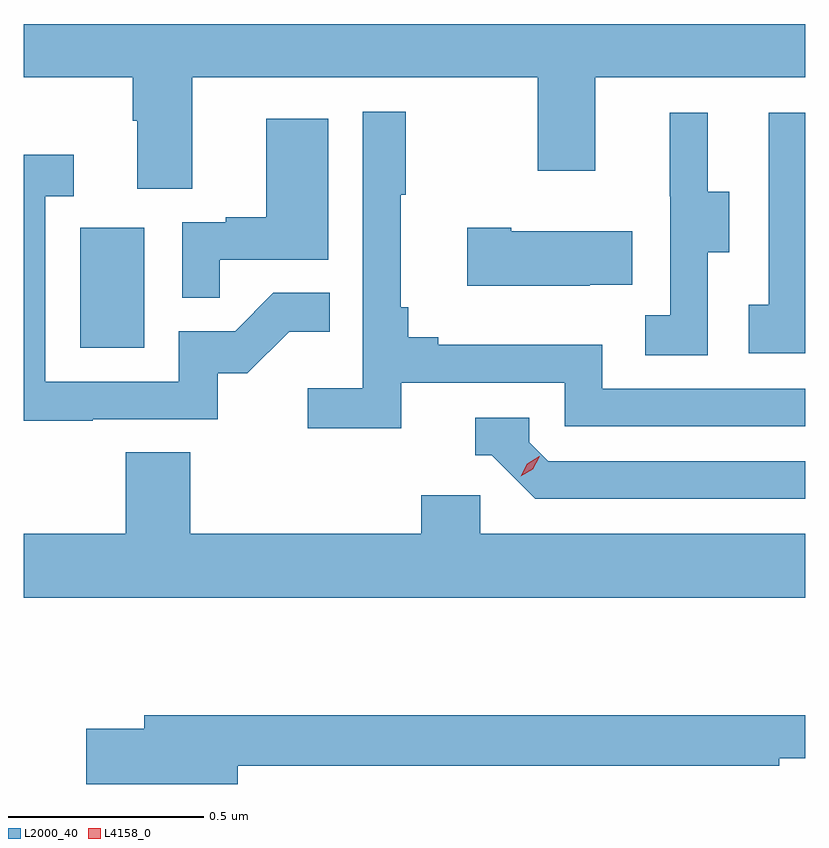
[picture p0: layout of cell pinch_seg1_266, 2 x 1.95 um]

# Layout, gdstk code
import gdstk
lib = gdstk.Library(unit=1e-6, precision=1e-09)
def R(c, l, rs):  # rectangles x0, y0, x1, y1
    for r in rs: c.add(gdstk.rectangle(r[:2], r[2:], *l))
def P(c, l, *ps):  # polygons
    for p in ps: c.add(gdstk.Polygon(p, *l))
L2000_40 = (2000, 40)
L4158_0 = (4158, 0)

pinch_seg1_266 = lib.new_cell('pinch_seg1_266')
R(pinch_seg1_266, L2000_40, [(912.794,579.012,912.958,579.319)])
P(pinch_seg1_266, L2000_40, [(913.081,579.704),(913.966,579.704),(913.966,579.465),(914.113,579.465),(914.113,579.704),(914.65,579.704),(914.65,579.84),(912.65,579.84),(912.65,579.704),(912.929,579.704),(912.929,579.592),(912.941,579.592),(912.941,579.418),(913.081,579.418)],
  [(913.616,578.922),(914.034,578.922),(914.034,578.811),(914.65,578.811),(914.65,578.907),(914.13,578.907),(914.13,579.019),(913.711,579.019),(913.711,579.038),(913.634,579.038),(913.634,579.115),(913.615,579.115),(913.615,579.403),(913.627,579.403),(913.627,579.616),(913.518,579.616),(913.518,578.908),(913.377,578.908),(913.377,578.806),(913.616,578.806)],
  [(914.4,579.256),(914.455,579.256),(914.455,579.411),(914.401,579.411),(914.401,579.613),(914.303,579.613),(914.303,579.399),(914.304,579.399),(914.304,579.095),(914.241,579.095),(914.241,578.992),(914.4,578.992)],
  [(914.65,579.613),(914.556,579.613),(914.556,579.122),(914.505,579.122),(914.505,578.997),(914.65,578.997)],
  [(913.151,579.237),(913.429,579.237),(913.429,579.598),(913.271,579.598),(913.271,579.346),(913.167,579.346),(913.167,579.333),(913.056,579.333),(913.056,579.139),(913.151,579.139)],
  [(912.827,578.829),(913.146,578.829),(913.146,578.946),(913.222,578.946),(913.329,579.053),(913.433,579.053),(913.433,579.152),(913.289,579.152),(913.191,579.054),(913.047,579.054),(913.047,578.925),(912.705,578.925),(912.705,579.399),(912.778,579.399),(912.778,579.505),(912.65,579.505),(912.65,578.824),(912.827,578.824)],
  [(914.099,579.173),(914.207,579.173),(914.207,579.31),(913.897,579.31),(913.897,579.318),(913.785,579.318),(913.785,579.17),(914.099,579.17)],
  [(914.65,578.721),(913.992,578.721),(913.944,578.769),(913.944,578.832),(913.805,578.832),(913.805,578.736),(913.848,578.736),(913.959,578.625),(914.65,578.625)],
  [(914.65,578.536),(913.818,578.536),(913.818,578.634),(913.667,578.634),(913.667,578.536),(913.076,578.536),(913.076,578.744),(912.911,578.744),(912.911,578.536),(912.65,578.536),(912.65,578.372),(914.65,578.372)],
  [(913.198,577.942),(914.583,577.942),(914.583,577.961),(914.65,577.961),(914.65,578.071),(912.959,578.071),(912.959,578.037),(912.81,578.037),(912.81,577.895),(913.198,577.895)])
P(pinch_seg1_266, L4158_0, [(913.922,578.682),(913.922,578.682),(913.938,578.715),(913.969,578.734),(913.97,578.734),(913.97,578.734),(913.953,578.701),(913.922,578.682)])

lib.write_gds('pinch_seg1_266.gds')
